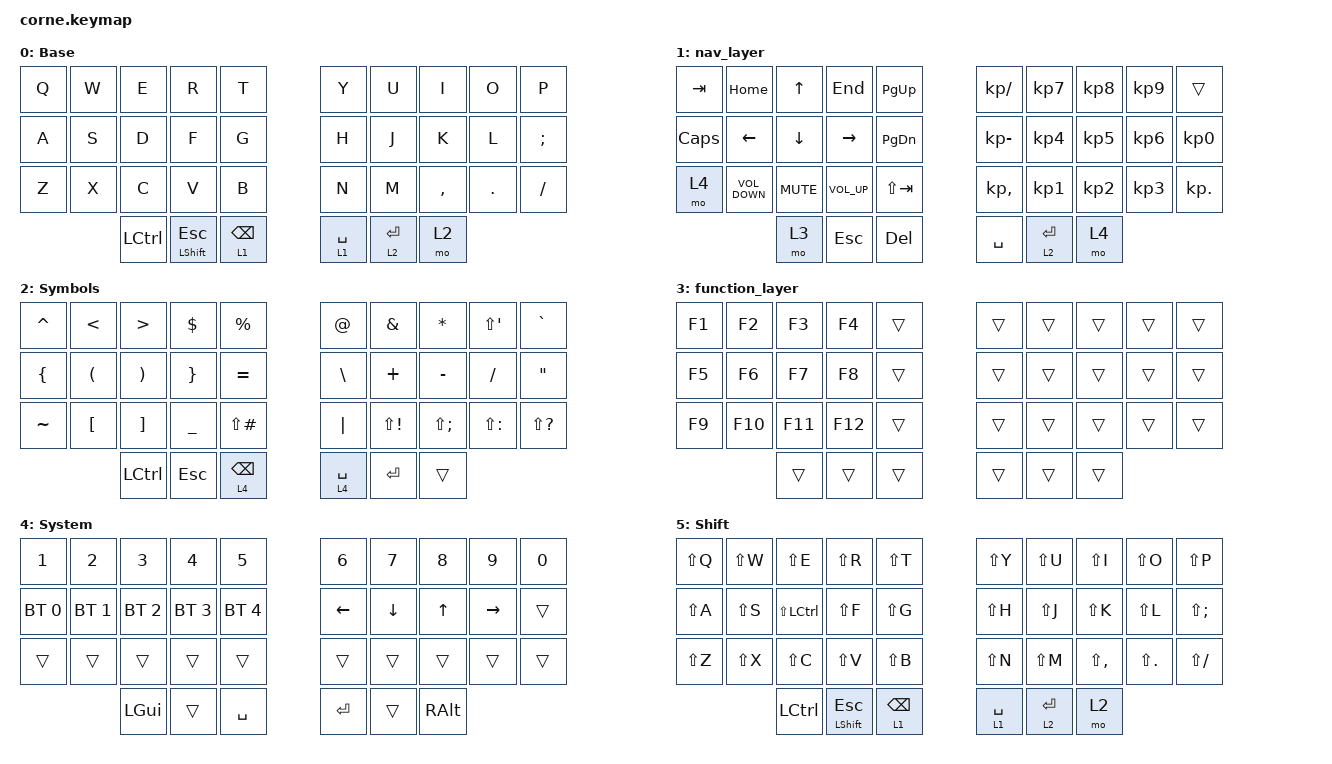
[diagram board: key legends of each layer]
/*
 * Copyright (c) 2020 The ZMK Contributors
 *
 * SPDX-License-Identifier: MIT
 */

#include <behaviors.dtsi>
#include <dt-bindings/zmk/bt.h>
#include <dt-bindings/zmk/keys.h>

/ {
    chosen { zmk,matrix_transform = &five_column_transform; };

    behaviors {
        HRM_custom: HRM_custom {
            compatible = "zmk,behavior-hold-tap";
            label = "HRM_C";
            bindings = <&kp>, <&kp>;

            #binding-cells = <2>;
            tapping-term-ms = <200>;
            flavor = "tap-preferred";
        };
    };

    behaviors {
        bhm: balanced_homerow_mods {
            compatible = "zmk,behavior-hold-tap";
            #binding-cells = <2>;
            tapping-term-ms = <200>;    // <---[[moderate duration]]
            quick-tap-ms = <0>;
            flavor = "balanced";
            bindings = <&kp>, <&kp>;
        };
    };

    keymap {
        compatible = "zmk,keymap";

        default_layer {
            // -----------------------------------------------------------------------------------------
            // |  Q  |  W  |  E  |  R  |  T  |     |  Y  |  U   |  I   |  O   | P |
            // |  A  |  S  |  D  |  F  |  G  |     |  H  |  J   |  K   |  L   | ; | 
            // |  Z  |  X  |  C  |  V  |  B  |     |  N  |  M   | CTRL | META | . |
            //             | GUI | LWR | SPC |     | ENT | RSE  | BSPC |

            display-name = "Base";
            bindings = <
  &kp Q  &kp W  &kp E      &kp R            &kp T         &kp Y        &kp U      &kp I      &kp O    &kp P
  &kp A  &kp S  &kp D      &kp F            &kp G         &kp H        &kp J      &kp K      &kp L    &kp SEMICOLON
  &kp Z  &kp X  &kp C      &kp V            &kp B         &kp N        &kp M      &kp COMMA  &kp DOT  &kp SLASH
                &kp LCTRL  &bhm LSHIFT ESC  &lt 1 BSPC    &lt 1 SPACE  &lt 2 RET  &mo 2
            >;
        };

        nav_layer {
            bindings = <
  &kp TAB   &kp HOME           &kp UP      &kp END          &kp PAGE_UP      &kp KP_DIVIDE    &kp KP_NUMBER_7  &kp KP_NUMBER_8  &kp KP_NUMBER_9  &trans
  &kp CAPS  &kp LEFT           &kp DOWN    &kp RIGHT        &kp PAGE_DOWN    &kp KP_SUBTRACT  &kp KP_NUMBER_4  &kp KP_NUMBER_5  &kp KP_NUMBER_6  &kp KP_NUMBER_0
  &mo 4     &kp K_VOLUME_DOWN  &kp K_MUTE  &kp K_VOLUME_UP  &kp LS(TAB)      &kp KP_COMMA     &kp KP_NUMBER_1  &kp KP_NUMBER_2  &kp KP_NUMBER_3  &kp KP_DOT
                               &mo 3       &kp ESCAPE       &kp DELETE       &kp SPACE        &lt 2 ENTER      &mo 4
            >;
        };

        symbols_layer {
            display-name = "Symbols";
            bindings = <
  &kp CARET  &kp LESS_THAN         &kp GREATER_THAN       &kp DOLLAR       &kp PERCENT        &kp AT       &kp AMPS             &kp STAR      &kp LS(APOSTROPHE)  &kp GRAVE
  &kp LBRC   &kp LEFT_PARENTHESIS  &kp RIGHT_PARENTHESIS  &kp RIGHT_BRACE  &kp EQUAL          &kp BSLH     &kp PLUS             &kp MINUS     &kp FSLH            &kp DQT
  &kp TILDE  &kp LBKT              &kp RBKT               &kp UNDER        &kp LS(POUND)      &kp PIPE     &kp LS(EXCLAMATION)  &kp LS(SEMI)  &kp LS(COLON)       &kp LS(QMARK)
                                   &kp LEFT_CONTROL       &kp ESCAPE       &lt 4 BACKSPACE    &lt 4 SPACE  &kp ENTER            &trans
            >;
        };

        function_layer {
            bindings = <
  &kp F1  &kp F2   &kp F3   &kp F4   &trans    &trans  &trans  &trans  &trans  &trans
  &kp F5  &kp F6   &kp F7   &kp F8   &trans    &trans  &trans  &trans  &trans  &trans
  &kp F9  &kp F10  &kp F11  &kp F12  &trans    &trans  &trans  &trans  &trans  &trans
                   &trans   &trans   &trans    &trans  &trans  &trans
            >;
        };

        System_layer {
            // -----------------------------------------------------------------------------------------
            // |  1  |  2  |  3  |  4  |  5  |   |  6  |  7  |  8  |  9  |  0  |
            // | BT1 | BT2 | BT3 | BT4 | BT5 |   | LFT | DWN |  UP | RGT |     |
            // |     |     |     |     |     |   |     |     |     |     |     |
            //                    | GUI |     | SPC |   | ENT |     | ALT |

            display-name = "System";
            bindings = <
  &kp N1        &kp N2        &kp N3        &kp N4        &kp N5          &kp N6    &kp N7    &kp N8    &kp N9     &kp N0
  &bt BT_SEL 0  &bt BT_SEL 1  &bt BT_SEL 2  &bt BT_SEL 3  &bt BT_SEL 4    &kp LEFT  &kp DOWN  &kp UP    &kp RIGHT  &trans
  &trans        &trans        &trans        &trans        &trans          &trans    &trans    &trans    &trans     &trans
                              &kp LGUI      &trans        &kp SPACE       &kp RET   &trans    &kp RALT
            >;
        };

        shift {
            // -----------------------------------------------------------------------------------------
            // |  Q  |  W  |  E  |  R  |  T  |     |  Y  |  U   |  I   |  O   | P |
            // |  A  |  S  |  D  |  F  |  G  |     |  H  |  J   |  K   |  L   | ; | 
            // |  Z  |  X  |  C  |  V  |  B  |     |  N  |  M   | CTRL | META | . |
            //             | GUI | LWR | SPC |     | ENT | RSE  | BSPC |

            display-name = "Shift";
            bindings = <
  &kp LS(Q)  &kp LS(W)  &kp LS(E)      &kp LS(R)        &kp LS(T)     &kp LS(Y)    &kp LS(U)  &kp LS(I)      &kp LS(O)    &kp LS(P)
  &kp LS(A)  &kp LS(S)  &kp LS(LCTRL)  &kp LS(F)        &kp LS(G)     &kp LS(H)    &kp LS(J)  &kp LS(K)      &kp LS(L)    &kp LS(SEMICOLON)
  &kp LS(Z)  &kp LS(X)  &kp LS(C)      &kp LS(V)        &kp LS(B)     &kp LS(N)    &kp LS(M)  &kp LS(COMMA)  &kp LS(DOT)  &kp LS(SLASH)
                        &kp LCTRL      &bhm LSHIFT ESC  &lt 1 BSPC    &lt 1 SPACE  &lt 2 RET  &mo 2
            >;
        };
    };
};
